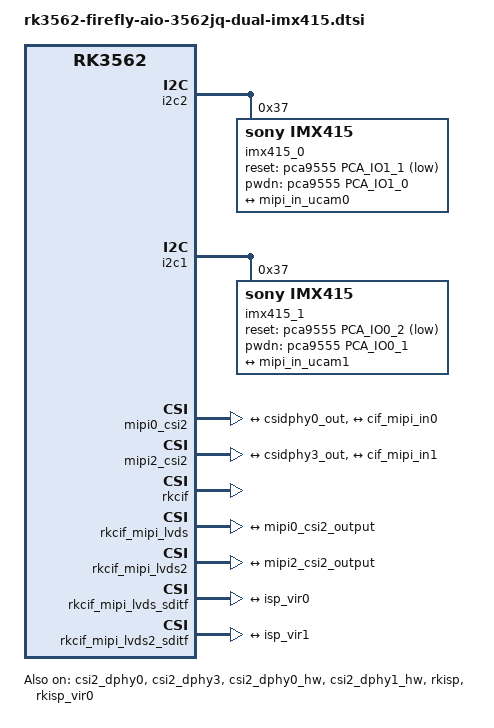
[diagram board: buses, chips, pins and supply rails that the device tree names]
// SPDX-License-Identifier: (GPL-2.0+ OR MIT)
/*
 * Copyright (c) 2023 Rockchip Electronics Co., Ltd.
 *
 */

/ {

};

&csi2_dphy0 {
	status = "okay";

	ports {
		#address-cells = <1>;
		#size-cells = <0>;
		port@0 {
			reg = <0>;
			#address-cells = <1>;
			#size-cells = <0>;

			mipi_in_ucam0: endpoint@1 {
				reg = <1>;
				remote-endpoint = <&imx415_out0>;
				data-lanes = <1 2 3 4>;
			};
		};
		port@1 {
			reg = <1>;
			#address-cells = <1>;
			#size-cells = <0>;

			csidphy0_out: endpoint@0 {
				reg = <0>;
				remote-endpoint = <&mipi0_csi2_input>;
			};
		};
	};
};

&csi2_dphy3 {
	status = "okay";

	ports {
		#address-cells = <1>;
		#size-cells = <0>;
		port@0 {
			reg = <0>;
			#address-cells = <1>;
			#size-cells = <0>;

			mipi_in_ucam1: endpoint@1 {
				reg = <1>;
				remote-endpoint = <&imx415_out1>;
				data-lanes = <1 2 3 4>;
			};
		};
		port@1 {
			reg = <1>;
			#address-cells = <1>;
			#size-cells = <0>;

			csidphy3_out: endpoint@0 {
				reg = <0>;
				remote-endpoint = <&mipi2_csi2_input>;
			};
		};
	};
};

&i2c2 {
	imx415_0: imx415-0@37 {
		status = "okay";
		compatible = "sony,imx415";
		reg = <0x37>;
		clocks = <&cru CLK_CAM0_OUT2IO>;
		clock-names = "xvclk";
		pinctrl-names = "default";
		pinctrl-0 = <&camm1_clk0_out>;
		reset-gpios = <&pca9555 PCA_IO1_1 GPIO_ACTIVE_LOW>;
		pwdn-gpios = <&pca9555 PCA_IO1_0 GPIO_ACTIVE_HIGH>;

		rockchip,camera-module-index = <0>;
		rockchip,camera-module-facing = "back";
		rockchip,camera-module-name = "CMK-OT2022-PX1";
		rockchip,camera-module-lens-name = "IR0147-50IRC-8M-F20";
		port {
			imx415_out0: endpoint {
				remote-endpoint = <&mipi_in_ucam0>;
				data-lanes = <1 2 3 4>;
			};
		};
	};
};

&i2c1 {
	imx415_1: imx415-1@37 {
		status = "okay";
		compatible = "sony,imx415";
		reg = <0x37>;
		clocks = <&cru CLK_CAM2_OUT2IO>;
		clock-names = "xvclk";
		pinctrl-names = "default";
		pinctrl-0 = <&cam_clk2_out>;
		reset-gpios = <&pca9555 PCA_IO0_2 GPIO_ACTIVE_LOW>;
		pwdn-gpios = <&pca9555 PCA_IO0_1 GPIO_ACTIVE_HIGH>;

		rockchip,camera-module-index = <1>;
		rockchip,camera-module-facing = "front";
		rockchip,camera-module-name = "CMK-OT2022-PX1";
		rockchip,camera-module-lens-name = "IR0147-50IRC-8M-F20";
		port {
			imx415_out1: endpoint {
				remote-endpoint = <&mipi_in_ucam1>;
				data-lanes = <1 2 3 4>;
			};
		};
	};
};

&csi2_dphy0_hw {
	status = "okay";
};

&csi2_dphy1_hw {
	status = "okay";
};

&mipi0_csi2 {
	status = "okay";

	ports {
		#address-cells = <1>;
		#size-cells = <0>;

		port@0 {
			reg = <0>;
			#address-cells = <1>;
			#size-cells = <0>;

			mipi0_csi2_input: endpoint@1 {
				reg = <1>;
				remote-endpoint = <&csidphy0_out>;
			};
		};

		port@1 {
			reg = <1>;
			#address-cells = <1>;
			#size-cells = <0>;

			mipi0_csi2_output: endpoint@0 {
				reg = <0>;
				remote-endpoint = <&cif_mipi_in0>;
			};
		};
	};
};

&mipi2_csi2 {
	status = "okay";

	ports {
		#address-cells = <1>;
		#size-cells = <0>;

		port@0 {
			reg = <0>;
			#address-cells = <1>;
			#size-cells = <0>;

			mipi2_csi2_input: endpoint@1 {
				reg = <1>;
				remote-endpoint = <&csidphy3_out>;
			};
		};

		port@1 {
			reg = <1>;
			#address-cells = <1>;
			#size-cells = <0>;

			mipi2_csi2_output: endpoint@0 {
				reg = <0>;
				remote-endpoint = <&cif_mipi_in1>;
			};
		};
	};
};

&rkcif {
	status = "okay";
};

&rkcif_mipi_lvds {
	status = "okay";

	port {
		cif_mipi_in0: endpoint {
			remote-endpoint = <&mipi0_csi2_output>;
		};
	};
};

&rkcif_mipi_lvds2 {
	status = "okay";

	port {
		cif_mipi_in1: endpoint {
			remote-endpoint = <&mipi2_csi2_output>;
		};
	};
};

&rkcif_mipi_lvds_sditf {
	status = "okay";

	port {
		mipi_lvds_sditf: endpoint {
			remote-endpoint = <&isp_vir0>;
		};
	};
};

&rkcif_mipi_lvds2_sditf {
	status = "okay";

	port {
		mipi_lvds2_sditf: endpoint {
			remote-endpoint = <&isp_vir1>;
		};
	};
};

&rkcif_mmu {
	status = "okay";
};

&rkisp {
	status = "okay";
};

&rkisp_mmu {
	status = "okay";
};

&rkisp_vir0 {
	status = "okay";

	port {
		#address-cells = <1>;
		#size-cells = <0>;

		isp_vir0: endpoint@0 {
			reg = <0>;
			remote-endpoint = <&mipi_lvds_sditf>;
		};

		isp_vir1: endpoint@1 {
			reg = <1>;
			remote-endpoint = <&mipi_lvds2_sditf>;
		};
	};
};

